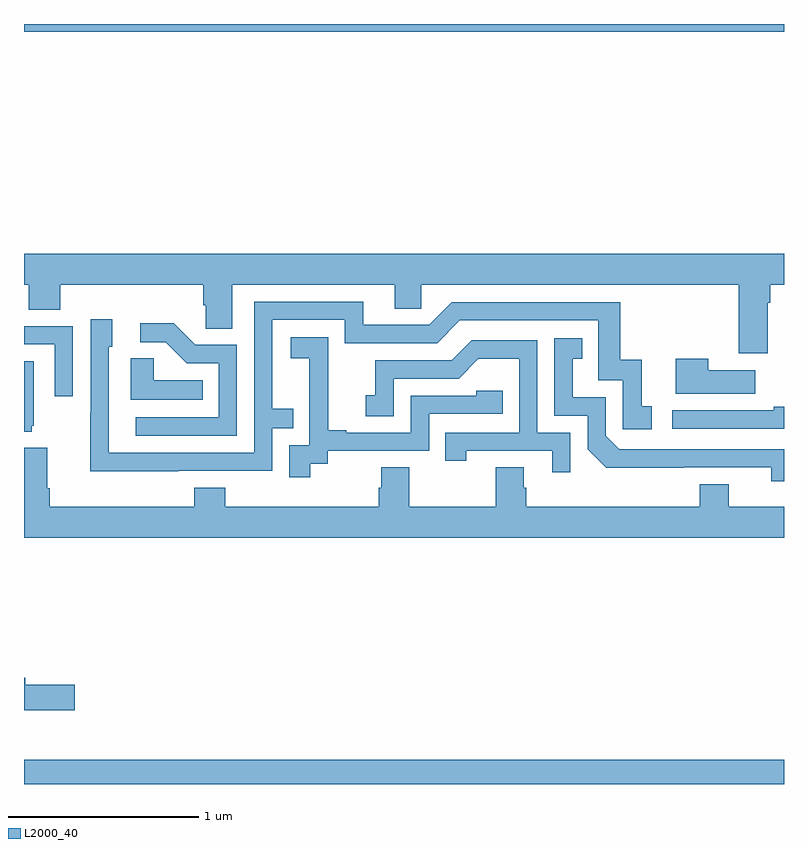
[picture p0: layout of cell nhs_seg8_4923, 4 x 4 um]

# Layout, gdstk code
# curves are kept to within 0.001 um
import gdstk
lib = gdstk.Library(unit=1e-6, precision=1e-09)
def R(c, l, rs):  # rectangles x0, y0, x1, y1
    for r in rs: c.add(gdstk.rectangle(r[:2], r[2:], *l))
def P(c, l, *ps):  # polygons
    for p in ps: c.add(gdstk.Polygon(p, *l))
L2000_40 = (2000, 40)

nhs_seg8_4923 = lib.new_cell('nhs_seg8_4923')
R(nhs_seg8_4923, L2000_40, [(409,1085.9,413,1086.028), (409,1089.86,413,1089.9)])
P(nhs_seg8_4923, L2000_40, [(412.915,1088.432),(412.928,1088.432),(412.928,1088.528),(413,1088.528),(413,1088.692),(409,1088.692),(409,1088.528),(409.025,1088.528),(409.025,1088.395),(409.19,1088.395),(409.19,1088.528),(409.943,1088.528),(409.943,1088.419),(409.956,1088.419),(409.956,1088.296),(410.095,1088.296),(410.095,1088.528),(410.951,1088.528),(410.951,1088.401),(411.09,1088.401),(411.09,1088.528),(412.763,1088.528),(412.763,1088.166),(412.915,1088.166)],
  [(409.811,1087.548),(410.307,1087.548),(410.307,1087.773),(410.417,1087.773),(410.417,1087.874),(410.307,1087.874),(410.307,1088.343),(410.688,1088.343),(410.688,1088.22),(411.174,1088.22),(411.294,1088.34),(412.023,1088.34),(412.023,1088.025),(412.152,1088.025),(412.152,1087.767),(412.303,1087.767),(412.303,1087.887),(412.25,1087.887),(412.25,1088.134),(412.139,1088.134),(412.139,1088.436),(411.252,1088.436),(411.132,1088.316),(410.785,1088.316),(410.785,1088.439),(410.211,1088.439),(410.211,1087.644),(409.446,1087.644),(409.446,1088.202),(409.465,1088.202),(409.465,1088.347),(409.35,1088.347),(409.35,1087.853),(409.348,1087.853),(409.348,1087.547)],
  [(410.121,1088.211),(409.902,1088.211),(409.789,1088.324),(409.611,1088.324),(409.611,1088.226),(409.745,1088.226),(409.856,1088.115),(410.025,1088.115),(410.025,1087.83),(409.587,1087.83),(409.587,1087.734),(410.121,1087.734)],
  [(409.257,1088.31),(409,1088.31),(409,1088.214),(409.161,1088.214),(409.161,1087.941),(409.257,1087.941)],
  [(410.506,1087.585),(410.598,1087.585),(410.598,1087.653),(411.132,1087.653),(411.132,1087.848),(411.521,1087.848),(411.521,1087.971),(411.381,1087.971),(411.381,1087.944),(411.036,1087.944),(411.036,1087.749),(410.695,1087.749),(410.695,1087.762),(410.6,1087.762),(410.6,1088.045),(410.601,1088.045),(410.601,1088.251),(410.403,1088.251),(410.403,1088.141),(410.501,1088.141),(410.501,1087.913),(410.502,1087.913),(410.502,1087.683),(410.397,1087.683),(410.397,1087.515),(410.506,1087.515)],
  [(413,1087.662),(412.134,1087.662),(412.062,1087.734),(412.062,1087.935),(411.889,1087.935),(411.889,1088.139),(411.938,1088.139),(411.938,1088.245),(411.792,1088.245),(411.792,1087.839),(411.966,1087.839),(411.966,1087.662),(412.064,1087.565),(412.932,1087.566),(412.932,1087.493),(413,1087.493)],
  [(411.876,1087.749),(411.702,1087.749),(411.702,1088.235),(411.356,1088.235),(411.251,1088.13),(410.848,1088.13),(410.848,1087.945),(410.799,1087.945),(410.799,1087.836),(410.946,1087.836),(410.946,1088.034),(411.288,1088.034),(411.392,1088.138),(411.606,1088.138),(411.606,1087.749),(411.217,1087.749),(411.217,1087.602),(411.328,1087.602),(411.328,1087.653),(411.779,1087.653),(411.779,1087.542),(411.876,1087.542)],
  [(409.94,1088.026),(409.683,1088.026),(409.683,1088.141),(409.562,1088.141),(409.562,1087.922),(409.94,1087.922)],
  [(412.849,1088.077),(412.601,1088.077),(412.601,1088.137),(412.43,1088.137),(412.43,1087.955),(412.849,1087.955)],
  [(409.04,1087.785),(409.051,1087.785),(409.051,1088.125),(409,1088.125),(409,1087.754),(409.04,1087.754)],
  [(413,1087.886),(412.945,1087.886),(412.945,1087.866),(412.413,1087.866),(412.413,1087.77),(413,1087.77)],
  [(413,1087.36),(412.708,1087.36),(412.708,1087.477),(412.556,1087.477),(412.556,1087.36),(411.644,1087.36),(411.644,1087.458),(411.631,1087.458),(411.631,1087.568),(411.484,1087.568),(411.484,1087.36),(411.027,1087.36),(411.027,1087.568),(410.879,1087.568),(410.879,1087.458),(410.867,1087.458),(410.867,1087.36),(410.06,1087.36),(410.06,1087.459),(409.895,1087.459),(409.895,1087.36),(409.136,1087.36),(409.136,1087.456),(409.123,1087.456),(409.123,1087.669),(409,1087.669),(409,1087.196),(413,1087.196)],
  [(409.267,1086.422),(409.006,1086.422),(409.006,1086.458),(409,1086.458),(409,1086.287),(409.267,1086.287)])

lib.write_gds('nhs_seg8_4923.gds')
